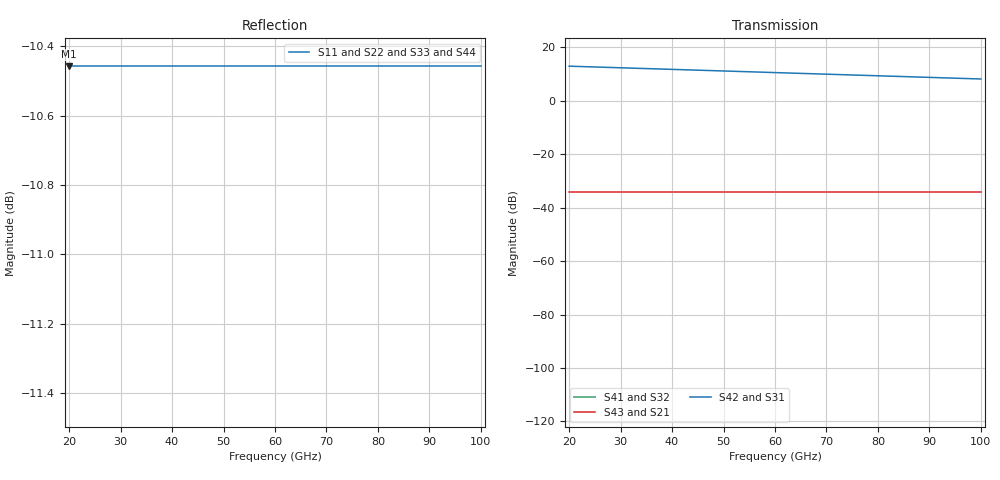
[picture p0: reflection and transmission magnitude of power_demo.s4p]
! Created with skrf 1.12.0 (http://scikit-rf.org).
# Hz S RI R 50.0
! Port[1] = in_plus
! Port[2] = in_minus
! Port[3] = out_plus
! Port[4] = out_minus
!freq ReS11 ImS11 ReS12 ImS12 ReS13 ImS13
! ReS14 ImS14
! ReS21 ImS21 ReS22 ImS22 ReS23 ImS23
! ReS24 ImS24
! ReS31 ImS31 ReS32 ImS32 ReS33 ImS33
! ReS34 ImS34
! ReS41 ImS41 ReS42 ImS42 ReS43 ImS43
! ReS44 ImS44
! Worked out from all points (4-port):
!   41 points, 20 GHz to 100 GHz, reference 50 ohm
!   strongest paths, dB at 20 GHz, 40 GHz, 60 GHz, 80 GHz, 100 GHz:
!     S42: 13.0, 11.8, 10.6, 9.4, 8.2
!     S31: 13.0, 11.8, 10.6, 9.4, 8.2
!     S43: -34.0, -34.0, -34.0, -34.0, -34.0
!     S21: -34.0, -34.0, -34.0, -34.0, -34.0
!     S41: -, -, -, -, -
!     S32: -, -, -, -, -
!   lowest |S11| = -10.5 dB at 20 GHz (marker M1), VSWR 1.86, Z = 92.9 + j0 ohm
!   |S11| at or under -10 dB: start of sweep to end of sweep
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2e10  0.3 0  0.02 0  0.03 0  0 0
      0.02 0  0.3 0  0 0  0.03 0
      -1.38 -4.248  0 0  0.3 0  0.02 0
      0 0  -1.38 -4.248  0.02 0  0.3 0
3.4e10  0.3 0  0.02 0  0.03 0  0 0
        0.02 0  0.3 0  0 0  0.03 0
        -4.047 0.2546  0 0  0.3 0  0.02 0
        0 0  -4.047 0.2546  0.02 0  0.3 0
4.8e10  0.3 0  0.02 0  0.03 0  0 0
        0.02 0  0.3 0  0 0  0.03 0
        -0.6898 3.616  0 0  0.3 0  0.02 0
        0 0  -0.6898 3.616  0.02 0  0.3 0
6e10  0.3 0  0.02 0  0.03 0  0 0
      0.02 0  0.3 0  0 0  0.03 0
      2.741 1.992  0 0  0.3 0  0.02 0
      0 0  2.741 1.992  0.02 0  0.3 0
6.8e10  0.3 0  0.02 0  0.03 0  0 0
        0.02 0  0.3 0  0 0  0.03 0
        3.181 -0.4019  0 0  0.3 0  0.02 0
        0 0  3.181 -0.4019  0.02 0  0.3 0
8.4e10  0.3 0  0.02 0  0.03 0  0 0
        0.02 0  0.3 0  0 0  0.03 0
        -0.1803 -2.865  0 0  0.3 0  0.02 0
        0 0  -0.1803 -2.865  0.02 0  0.3 0
1e11  0.3 0  0.02 0  0.03 0  0 0
      0.02 0  0.3 0  0 0  0.03 0
      -2.57 -9.44e-16  0 0  0.3 0  0.02 0
      0 0  -2.57 -9.44e-16  0.02 0  0.3 0
